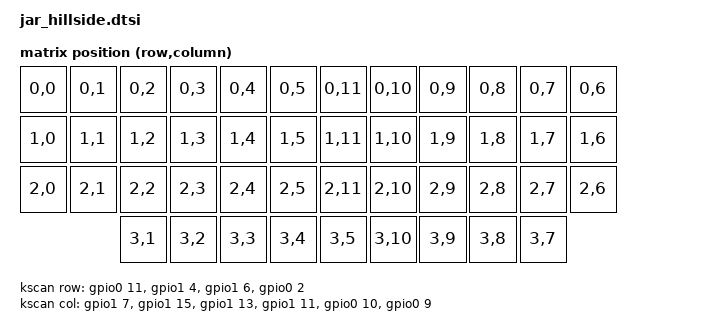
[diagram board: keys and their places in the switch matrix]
// HillSideView 46 - Handwire Split (nRF52840 SuperMini / nice!nano v2)
// Matrix und Matrix-Transform. Wird von beiden Overlays (_left/_right) inkludiert.
// Beide Haelften sind identisch verdrahtet (siehe Aufbau-Anleitung, Abschnitt 15).

#include <dt-bindings/zmk/matrix_transform.h>

#include "jar_hillside-layouts.dtsi"

/ {
    chosen {
        zmk,physical-layout = &default_layout;
    };

    kscan: kscan {
        compatible = "zmk,kscan-gpio-matrix";
        // Dioden: Spalte -> Schalter -> Anode; Kathode (Ring) -> Zeile.
        // => Spalten sind Ausgaenge (ACTIVE_HIGH), Zeilen sind Eingaenge (PULL_DOWN).
        diode-direction = "col2row";
        wakeup-source;

        // Zeilen (Eingaenge) - identisch auf beiden Haelften
        row-gpios
            = <&gpio0 11 (GPIO_ACTIVE_HIGH | GPIO_PULL_DOWN)>   // R0  P0.11  obere Fingerreihe
            , <&gpio1  4 (GPIO_ACTIVE_HIGH | GPIO_PULL_DOWN)>   // R1  P1.04  mittlere Reihe
            , <&gpio1  6 (GPIO_ACTIVE_HIGH | GPIO_PULL_DOWN)>   // R2  P1.06  untere Fingerreihe
            , <&gpio0  2 (GPIO_ACTIVE_HIGH | GPIO_PULL_DOWN)>   // R3  P0.02  Daumenreihe
            ;

        // Spalten (Ausgaenge) - identisch auf beiden Haelften, aussen -> innen
        col-gpios
            = <&gpio1  7 GPIO_ACTIVE_HIGH>   // C0  P1.07
            , <&gpio1 15 GPIO_ACTIVE_HIGH>   // C1  P1.15
            , <&gpio1 13 GPIO_ACTIVE_HIGH>   // C2  P1.13
            , <&gpio1 11 GPIO_ACTIVE_HIGH>   // C3  P1.11
            , <&gpio0 10 GPIO_ACTIVE_HIGH>   // C4  P0.10  (NFC-Pin -> CONFIG_NFCT_PINS_AS_GPIOS)
            , <&gpio0  9 GPIO_ACTIVE_HIGH>   // C5  P0.09  (NFC-Pin -> CONFIG_NFCT_PINS_AS_GPIOS)
            ;
    };

    // Logische Matrix: 12 Spalten (6 links + 6 rechts) x 4 Zeilen.
    // Die rechte Haelfte verschiebt ihre lokalen Spalten 0..5 per col-offset=6
    // auf die logischen Spalten 6..11 (siehe jar_hillside_right.overlay).
    //
    //  links C0..C5                             rechts C5..C0 (innen -> aussen)
    // | 0,0 | 0,1 | 0,2 | 0,3 | 0,4 | 0,5 |   | 0,11| 0,10| 0,9 | 0,8 | 0,7 | 0,6 |
    // | 1,0 | 1,1 | 1,2 | 1,3 | 1,4 | 1,5 |   | 1,11| 1,10| 1,9 | 1,8 | 1,7 | 1,6 |
    // | 2,0 | 2,1 | 2,2 | 2,3 | 2,4 | 2,5 |   | 2,11| 2,10| 2,9 | 2,8 | 2,7 | 2,6 |
    //       | 3,1 | 3,2 | 3,3 | 3,4 | 3,5 |   | 3,10| 3,9 | 3,8 | 3,7 |
    //  (R3/C0 links unbenutzt)                 (R3/C5 rechts = Touchpad, R3/C0 unbenutzt)
    default_transform: default_transform {
        compatible = "zmk,matrix-transform";
        columns = <12>;
        rows = <4>;

        map = <
RC(0,0) RC(0,1) RC(0,2) RC(0,3) RC(0,4) RC(0,5)   RC(0,11) RC(0,10) RC(0,9) RC(0,8) RC(0,7) RC(0,6)
RC(1,0) RC(1,1) RC(1,2) RC(1,3) RC(1,4) RC(1,5)   RC(1,11) RC(1,10) RC(1,9) RC(1,8) RC(1,7) RC(1,6)
RC(2,0) RC(2,1) RC(2,2) RC(2,3) RC(2,4) RC(2,5)   RC(2,11) RC(2,10) RC(2,9) RC(2,8) RC(2,7) RC(2,6)
                RC(3,1) RC(3,2) RC(3,3) RC(3,4) RC(3,5)   RC(3,10) RC(3,9) RC(3,8) RC(3,7)
        >;
    };
};
